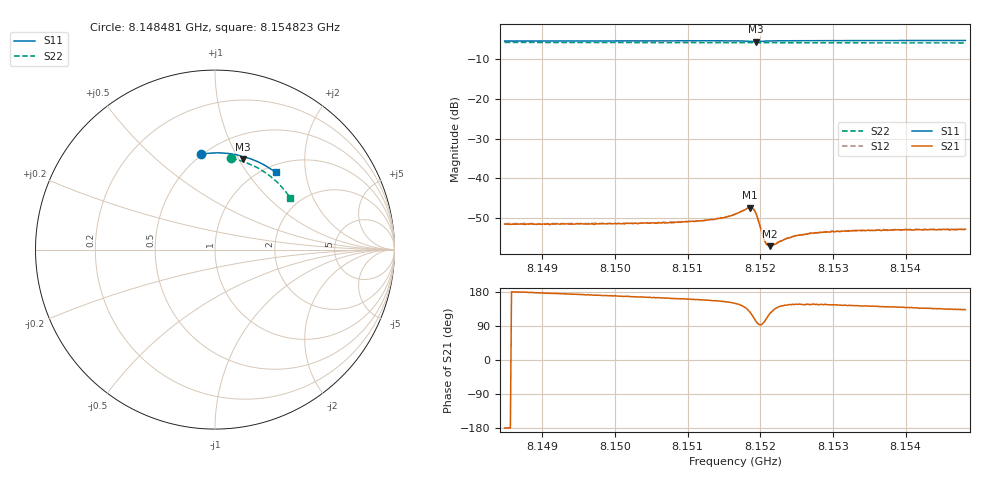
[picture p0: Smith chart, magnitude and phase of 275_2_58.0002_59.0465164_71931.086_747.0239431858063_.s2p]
#  HZ  S  RI  R  50.00
! Rohde & Schwarz Vector Network Analyzer
! Rohde-Schwarz,ZNB20-2Port,1311601062101988,3.16
! Created: UTC 3/21/2024, 1:02:38 AM
! freq[Hz]  re:S11  im:S11  re:S21  im:S21  re:S12  im:S12  re:S22  im:S22
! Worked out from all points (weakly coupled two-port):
!   401 points, 8.148481 GHz to 8.154823 GHz, reference 50 ohm
!   highest |S21| = -47.46 dB at 8.151858 GHz (marker M1); lowest = -57.2 dB at 8.152127 GHz (marker M2)
!   lowest |S11| = -5.5 dB at 8.151937 GHz (marker M3), VSWR 3.25, Z = 37.2 + j52.3 ohm
!   |S11| at or under -10 dB: nowhere
!   |S22| runs from -5.9 to -5.7 dB; largest |S21 - S12| = 0.00011
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8.1484806e9  -0.0762 0.5315  -0.00263 -2.52e-05  -0.00268 2.1e-05  0.0901 0.508
8.1495429e9  -0.0025 0.5389  -0.00262 0.00034  -0.00265 0.000412  0.1572 0.4906
8.1506052e9  0.0717 0.5358  -0.00263 0.000729  -0.00266 0.000811  0.2208 0.464
8.1512236e9  0.1149 0.5291  -0.0027 0.00108  -0.00266 0.00112  0.2557 0.4448
8.1514772e9  0.1331 0.5247  -0.00283 0.00135  -0.00286 0.00139  0.2697 0.4361
8.1516517e9  0.146 0.5205  -0.00302 0.00177  -0.00304 0.00181  0.2789 0.4299
8.1518102e9  0.1575 0.5128  -0.00296 0.00285  -0.00293 0.0029  0.2874 0.424
8.1518578e9  0.1591 0.5088  -0.00251 0.00341  -0.00246 0.00351  0.2898 0.4221
8.1519053e9  0.1582 0.5057  -0.00157 0.00375  -0.00152 0.00379  0.2922 0.4204
8.1519371e9  0.1567 0.5054  -0.000826 0.00355  -0.000772 0.00358  0.2936 0.4193
8.1519688e9  0.1558 0.5068  -0.000299 0.00299  -0.000239 0.00305  0.2952 0.418
8.1520322e9  0.1584 0.5109  -0.000213 0.0019  -0.000168 0.00189  0.2984 0.4159
8.1520639e9  0.161 0.512  -0.000368 0.00156  -0.000344 0.00156  0.3001 0.4146
8.1520956e9  0.1638 0.5127  -0.000555 0.00132  -0.000496 0.00136  0.3017 0.4135
8.1521273e9  0.1666 0.5128  -0.00073 0.00118  -0.000717 0.00121  0.3033 0.4122
8.152159e9  0.1693 0.5127  -0.000864 0.00112  -0.000866 0.00112  0.3051 0.4112
8.1523176e9  0.1819 0.5106  -0.00133 0.000997  -0.00134 0.000999  0.3131 0.4048
8.1524603e9  0.1922 0.5076  -0.00154 0.00103  -0.00153 0.00102  0.3203 0.399
8.152714e9  0.2096 0.5015  -0.00168 0.00111  -0.00168 0.00114  0.3325 0.3886
8.1533323e9  0.2494 0.4842  -0.00176 0.00129  -0.00174 0.00132  0.3609 0.361
8.1537763e9  0.2767 0.4699  -0.00169 0.00142  -0.0017 0.00145  0.3799 0.3401
8.1548227e9  0.3372 0.4304  -0.00154 0.00166  -0.00152 0.00167  0.4196 0.2872
